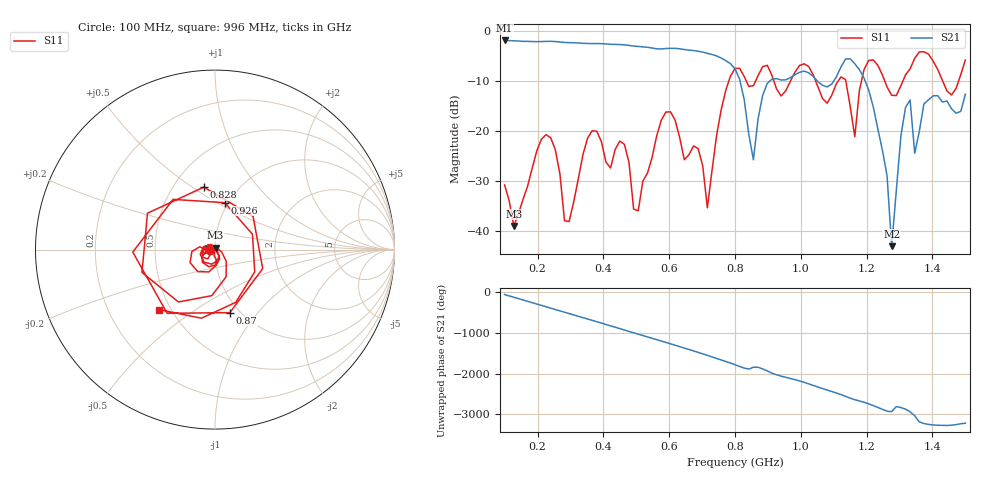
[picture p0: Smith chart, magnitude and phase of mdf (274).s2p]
! NanoVNA-App
! Date: 2025-09-25 15:40:33
! Start: 100MHz Stop: 1,5GHz Points: 101
! S-Parameter data: F S11 S21 S12 S22
# Hz S RI R 50
!  Frequency  S11_Real  S11_Imag  S21_Real  S21_Imag  S12_Real  S12_Imag  S22_Real  S22_Imag
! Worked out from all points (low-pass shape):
!   101 points, 100 MHz to 1.5 GHz, reference 50 ohm
!   highest |S21| = -1.80 dB at 100 MHz (marker M1); lowest = -43.0 dB at 1.276 GHz (marker M2)
!   |S21| within 3 dB of the highest: start of sweep to 739.2 MHz
!   lowest |S11| = -39.0 dB at 128 MHz (marker M3), VSWR 1.02, Z = 50.3 + j1.07 ohm
!   |S11| at or under -10 dB: start of sweep to 780.9 MHz; 918.4 MHz to 968.1 MHz (49.71 MHz wide, 5.27 % of centre); 1.045 GHz to 1.113 GHz (67.46 MHz wide, 6.25 % of centre) (the widest 3 of 7)
!   S12 and S22 are empty: the file has one direction only
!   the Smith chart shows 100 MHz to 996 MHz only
!   S11 on the Smith chart (normalised r, x): 100 MHz: 0.94, -0.01; 828 MHz: 0.70, +0.56; 870 MHz: 0.90, -0.73; 926 MHz: 0.97, +0.54; 996 MHz: 0.43, -0.37
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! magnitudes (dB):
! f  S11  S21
! 100 MHz  -30.8  -1.8
! 128 MHz  -39.0  -1.9
! 212 MHz  -21.6  -2.0
! 282 MHz  -37.9  -2.2
! 338 MHz  -24.7  -2.4
! 464 MHz  -22.6  -2.7
! 506 MHz  -35.9  -3.0
! 576 MHz  -17.8  -3.5
! 716 MHz  -35.3  -4.4
! 800 MHz  -7.4  -7.5
! 828 MHz  -9.0  -13.7
! 856 MHz  -10.9  -25.7
! 870 MHz  -8.9  -17.6
! 926 MHz  -11.5  -9.4
! 996 MHz  -6.8  -8.2
! 1.038 GHz  -8.7  -9.0
! 1.164 GHz  -21.1  -6.5
! 1.192 GHz  -7.7  -9.3
! 1.276 GHz  -12.8  -43.0
! 1.318 GHz  -8.7  -15.2
! 1.346 GHz  -5.4  -24.4
! 1.5 GHz  -5.7  -12.6
